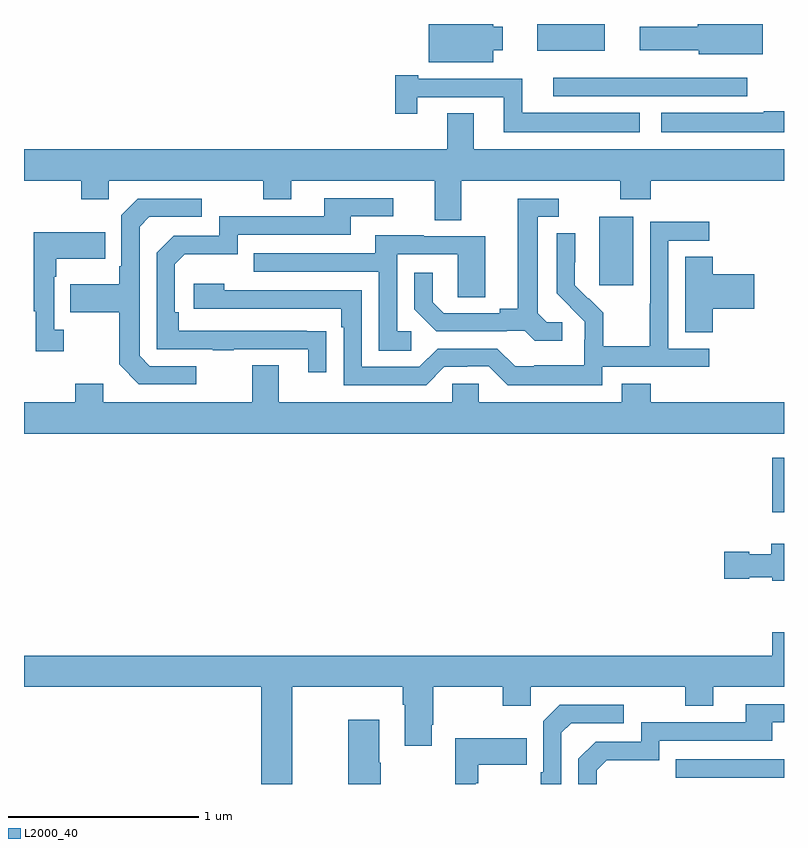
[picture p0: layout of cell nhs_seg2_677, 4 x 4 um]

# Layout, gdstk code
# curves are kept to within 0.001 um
import gdstk
lib = gdstk.Library(unit=1e-6, precision=1e-09)
def R(c, l, rs):  # rectangles x0, y0, x1, y1
    for r in rs: c.add(gdstk.rectangle(r[:2], r[2:], *l))
def P(c, l, *ps):  # polygons
    for p in ps: c.add(gdstk.Polygon(p, *l))
L2000_40 = (2000, 40)

nhs_seg2_677 = lib.new_cell('nhs_seg2_677')
R(nhs_seg2_677, L2000_40, [(148.429,637.833,149,637.929), (148.937,639.23,149,639.517), (148.028,640.425,148.207,640.786), (147.701,641.66,148.057,641.8)])
P(nhs_seg2_677, L2000_40, [(147.469,641.663),(147.52,641.663),(147.52,641.785),(147.469,641.785),(147.469,641.8),(147.131,641.8),(147.131,641.6),(147.469,641.6)],
  [(148.888,641.8),(148.547,641.8),(148.547,641.785),(148.242,641.785),(148.242,641.663),(148.551,641.663),(148.551,641.642),(148.888,641.642)],
  [(148.24,641.332),(147.622,641.332),(147.622,641.511),(147.076,641.511),(147.076,641.531),(146.953,641.531),(146.953,641.328),(147.07,641.328),(147.07,641.415),(147.524,641.415),(147.524,641.231),(148.24,641.231)],
  [(148.807,641.517),(148.451,641.517),(148.451,641.518),(147.786,641.518),(147.786,641.421),(148.807,641.421)],
  [(149,641.342),(148.894,641.342),(148.894,641.332),(148.353,641.332),(148.353,641.231),(149,641.231)],
  [(145,640.976),(145.3,640.976),(145.3,640.877),(145.446,640.877),(145.446,640.976),(146.26,640.976),(146.26,640.877),(146.407,640.877),(146.407,640.976),(147.161,640.976),(147.161,640.768),(147.301,640.768),(147.301,640.976),(148.138,640.976),(148.138,640.877),(148.298,640.877),(148.298,640.976),(149,640.976),(149,641.14),(147.367,641.14),(147.367,641.33),(147.227,641.33),(147.227,641.14),(145,641.14)],
  [(146.591,640.184),(145.814,640.185),(145.814,640.282),(145.794,640.282),(145.794,640.536),(145.847,640.589),(146.124,640.589),(146.124,640.692),(146.719,640.692),(146.719,640.788),(146.944,640.788),(146.944,640.884),(146.579,640.884),(146.579,640.788),(146.028,640.788),(146.028,640.686),(145.788,640.686),(145.698,640.596),(145.698,640.089),(145.993,640.089),(145.993,640.084),(146.105,640.084),(146.105,640.089),(146.495,640.089),(146.495,639.966),(146.591,639.966)],
  [(147.832,640.23),(147.75,640.23),(147.703,640.277),(147.703,640.785),(147.814,640.785),(147.814,640.881),(147.599,640.881),(147.599,640.301),(147.503,640.301),(147.503,640.278),(147.208,640.278),(147.151,640.335),(147.151,640.492),(147.054,640.492),(147.054,640.298),(147.17,640.182),(147.542,640.182),(147.542,640.185),(147.636,640.185),(147.688,640.133),(147.832,640.133)],
  [(145.906,639.999),(145.662,639.999),(145.608,640.053),(145.608,640.734),(145.659,640.785),(145.936,640.785),(145.936,640.881),(145.599,640.881),(145.512,640.794),(145.512,640.525),(145.5,640.525),(145.5,640.429),(145.243,640.429),(145.243,640.282),(145.5,640.282),(145.5,640.009),(145.605,639.903),(145.906,639.903)],
  [(148.044,639.996),(148.606,639.996),(148.606,640.092),(148.392,640.092),(148.392,640.659),(148.606,640.659),(148.606,640.758),(148.296,640.758),(148.296,640.328),(148.294,640.328),(148.294,640.105),(148.049,640.105),(148.049,640.279),(147.972,640.356),(147.969,640.353),(147.899,640.424),(147.9,640.7),(147.804,640.7),(147.804,640.382),(147.95,640.234),(147.95,640.137),(147.948,640.137),(147.948,640.003),(147.685,640.003),(147.685,639.999),(147.585,639.999),(147.492,640.092),(147.177,640.092),(147.081,639.996),(146.778,639.996),(146.778,640.398),(146.054,640.398),(146.054,640.432),(145.893,640.432),(145.893,640.302),(146.669,640.302),(146.669,640.205),(146.682,640.205),(146.682,639.9),(147.117,639.9),(147.213,639.996),(147.332,639.996),(147.332,639.999),(147.447,639.999),(147.547,639.899),(148.044,639.899)],
  [(145.21,640.19),(145.158,640.19),(145.158,640.469),(145.171,640.469),(145.171,640.565),(145.427,640.565),(145.427,640.705),(145.05,640.705),(145.05,640.289),(145.061,640.289),(145.061,640.077),(145.21,640.077)],
  [(147.037,640.182),(146.964,640.182),(146.964,640.587),(147.282,640.587),(147.282,640.363),(147.427,640.363),(147.427,640.683),(147.103,640.683),(147.103,640.687),(146.849,640.687),(146.849,640.593),(146.209,640.593),(146.209,640.497),(146.868,640.497),(146.868,640.081),(147.037,640.081)],
  [(148.625,640.301),(148.843,640.301),(148.843,640.484),(148.625,640.484),(148.625,640.574),(148.481,640.574),(148.481,640.177),(148.625,640.177)],
  [(149,639.808),(148.298,639.808),(148.298,639.907),(148.145,639.907),(148.145,639.808),(147.393,639.808),(147.393,639.906),(147.255,639.906),(147.255,639.808),(146.341,639.808),(146.341,640.003),(146.201,640.003),(146.201,639.808),(145.417,639.808),(145.417,639.907),(145.27,639.907),(145.27,639.808),(145,639.808),(145,639.644),(149,639.644)],
  [(149,639.064),(148.934,639.064),(148.934,639.01),(148.818,639.01),(148.818,639.023),(148.686,639.023),(148.686,638.881),(148.818,638.881),(148.818,638.888),(148.938,638.888),(148.938,638.87),(149,638.87)],
  [(146.413,638.312),(146.993,638.312),(146.993,638.216),(147.005,638.216),(147.005,638.001),(147.145,638.001),(147.145,638.113),(147.153,638.113),(147.153,638.312),(147.52,638.312),(147.52,638.213),(147.666,638.213),(147.666,638.312),(148.48,638.312),(148.48,638.213),(148.627,638.213),(148.627,638.312),(149,638.312),(149,638.6),(148.937,638.6),(148.937,638.476),(145,638.476),(145,638.312),(146.249,638.312),(146.249,637.8),(146.413,637.8)],
  [(148.014,637.872),(148.067,637.925),(148.344,637.925),(148.344,638.028),(148.939,638.028),(148.939,638.124),(149,638.124),(149,638.22),(148.799,638.22),(148.799,638.124),(148.248,638.124),(148.248,638.022),(148.008,638.022),(147.918,637.932),(147.918,637.8),(148.014,637.8)],
  [(147.828,638.07),(147.879,638.121),(148.156,638.121),(148.156,638.217),(147.819,638.217),(147.732,638.13),(147.732,637.861),(147.72,637.861),(147.72,637.8),(147.828,637.8)],
  [(146.877,637.913),(146.869,637.913),(146.869,638.137),(146.707,638.137),(146.707,637.8),(146.877,637.8)],
  [(147.378,637.805),(147.391,637.805),(147.391,637.901),(147.647,637.901),(147.647,638.041),(147.27,638.041),(147.27,637.8),(147.378,637.8)])

lib.write_gds('nhs_seg2_677.gds')
